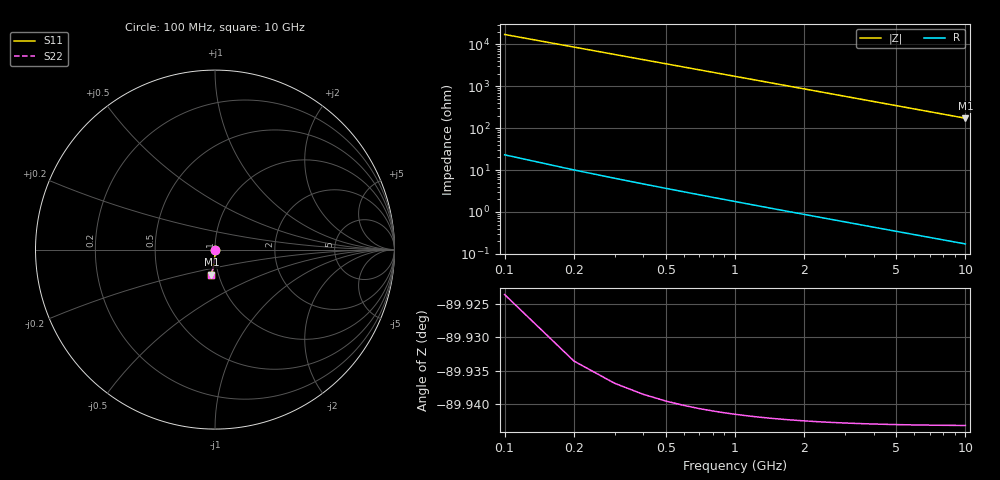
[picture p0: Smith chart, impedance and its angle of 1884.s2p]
# Hz S RI R 50.00
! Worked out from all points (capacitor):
!   100 points, 100 MHz to 10 GHz, reference 50 ohm
!   read as one part in shunt: C = 91.7 fF near 100 MHz
!   lowest |Z| = 173 ohm at 10 GHz (marker M1)
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1e8  3e-06 -0.00142  1 -0.00147  1 -0.00147  3e-06 -0.00142
2e8  -4.6e-06 -0.00283  1 -0.00293  1 -0.00293  -4.6e-06 -0.00283
3e8  -1.64e-05 -0.00425  1 -0.0044  1 -0.0044  -1.64e-05 -0.00425
4e8  -3.23e-05 -0.00566  1 -0.00586  1 -0.00586  -3.23e-05 -0.00566
5e8  -5.23e-05 -0.00708  0.9999 -0.00733  0.9999 -0.00733  -5.23e-05 -0.00708
6e8  -7.65e-05 -0.00849  0.9999 -0.00879  0.9999 -0.00879  -7.65e-05 -0.00849
7e8  -0.000105 -0.00991  0.9999 -0.0103  0.9999 -0.0103  -0.000105 -0.00991
8e8  -0.000137 -0.0113  0.9998 -0.0117  0.9998 -0.0117  -0.000137 -0.0113
9e8  -0.000174 -0.0127  0.9998 -0.0132  0.9998 -0.0132  -0.000174 -0.0127
1.1e9  -0.00026 -0.0156  0.9997 -0.0161  0.9997 -0.0161  -0.00026 -0.0156
1.4e9  -0.00042 -0.0198  0.9996 -0.0205  0.9996 -0.0205  -0.00042 -0.0198
1.8e9  -0.000691 -0.0255  0.9993 -0.0264  0.9993 -0.0264  -0.000691 -0.0255
2.1e9  -0.000937 -0.0297  0.999 -0.0308  0.999 -0.0308  -0.000937 -0.0297
2.5e9  -0.00132 -0.0353  0.9987 -0.0366  0.9987 -0.0366  -0.00132 -0.0353
2.9e9  -0.00178 -0.041  0.9982 -0.0425  0.9982 -0.0425  -0.00178 -0.041
3.4e9  -0.00244 -0.048  0.9975 -0.0498  0.9975 -0.0498  -0.00244 -0.048
4.2e9  -0.0037 -0.0593  0.9963 -0.0614  0.9963 -0.0614  -0.0037 -0.0593
5.1e9  -0.00544 -0.0718  0.9945 -0.0744  0.9945 -0.0744  -0.00544 -0.0718
5.9e9  -0.00726 -0.083  0.9927 -0.086  0.9927 -0.086  -0.00726 -0.083
6.7e9  -0.00934 -0.094  0.9906 -0.0975  0.9906 -0.0975  -0.00934 -0.094
8.4e9  -0.0146 -0.1173  0.9854 -0.1216  0.9854 -0.1216  -0.0146 -0.1173
1e10  -0.0205 -0.1388  0.9794 -0.1439  0.9794 -0.1439  -0.0205 -0.1388
